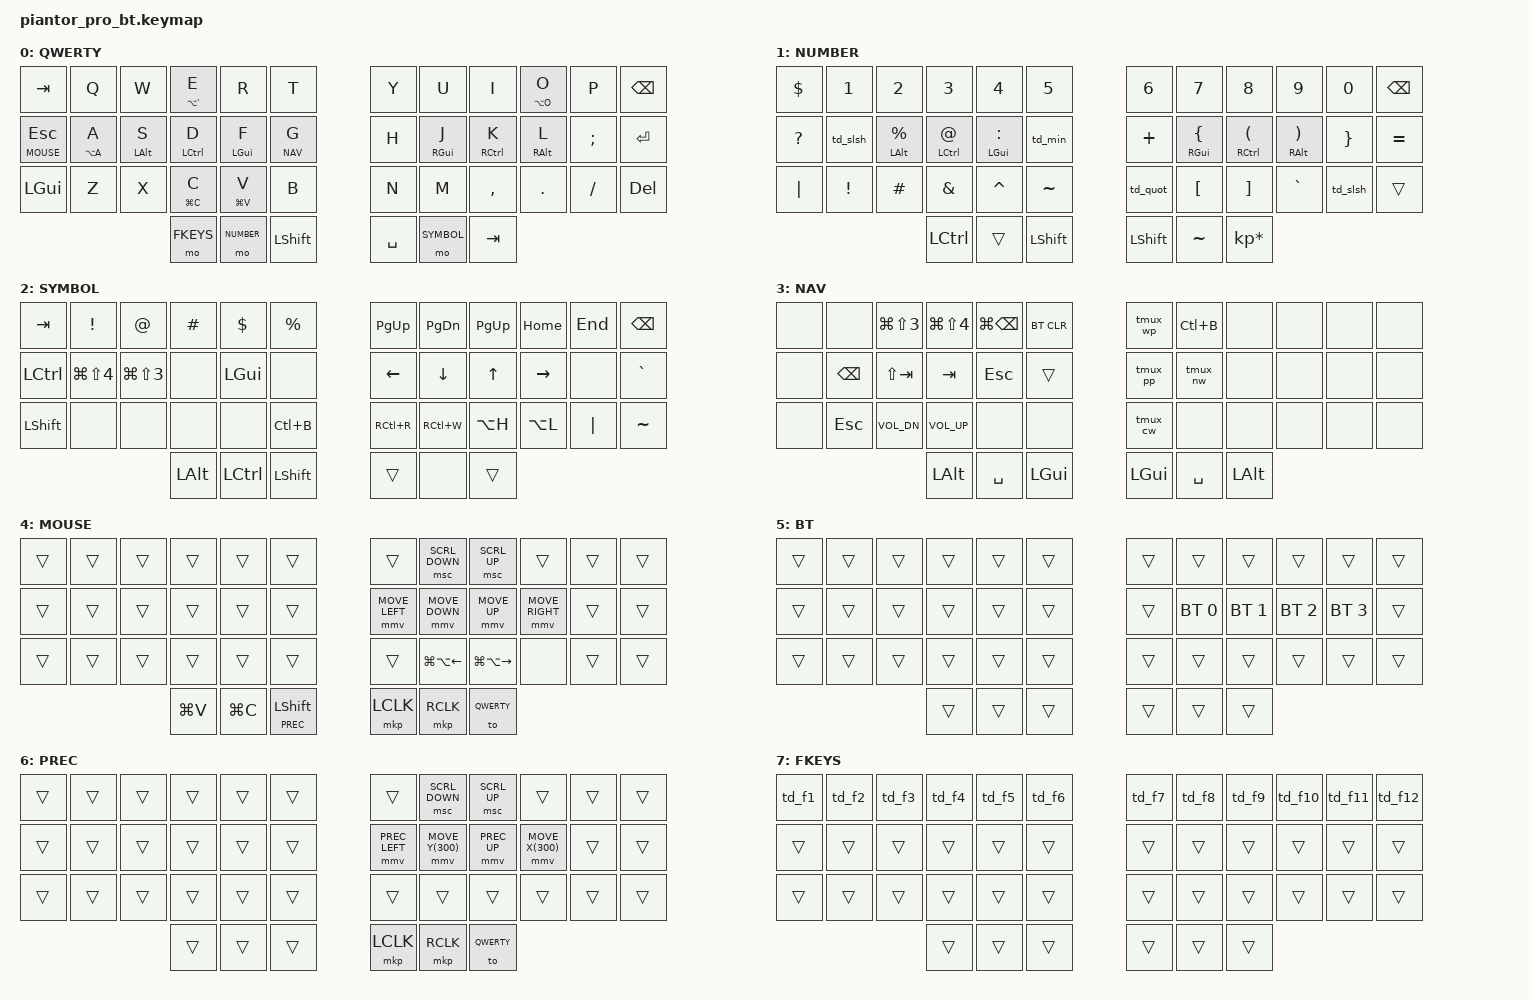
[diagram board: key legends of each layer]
/*
 * Copyright (c) 2020 The ZMK Contributors
 *
 * SPDX-License-Identifier: MIT
 *
 * Converted from Vial Corne v4 layout.
 * Dropped: encoder keys and 7th-column keys (Piantor has no extra column).
 * Layer numbering remapped: Vial 0→0, 1→1, 2→2, 3→3, 5→4 (numpad), 15→5 (mouse).
 */

#include <behaviors.dtsi>
#include <dt-bindings/zmk/keys.h>
#include <dt-bindings/zmk/bt.h>
// ZMK_POINTING_DEFAULT_MOVE_VAL is a preprocessor define in pointing.h,
// not a Kconfig symbol. Define it here before the include so the #ifndef
// guard in pointing.h picks it up. This sets MOVE_UP/DOWN/LEFT/RIGHT speed.
#define ZMK_POINTING_DEFAULT_MOVE_VAL 1500
#include <dt-bindings/zmk/pointing.h>

#define QWERTY 0
#define NUMBER 1
#define SYMBOL 2
#define NAV    3
#define MOUSE  4
#define BT     5
#define PREC   6
#define FKEYS  7

// Slow mouse movement for PREC precision layer (~20% of normal speed).
// Uses built-in &mmv with explicit low-value MOVE_X/MOVE_Y rather than a
// custom zmk,behavior-mouse-move node (not supported in ZMK v0.3 user configs).
#define PREC_UP    MOVE_Y(-300)
#define PREC_DOWN  MOVE_Y(300)
#define PREC_LEFT  MOVE_X(-300)
#define PREC_RIGHT MOVE_X(300)

/ {
    chosen {
        zmk,physical-layout = &default_layout;
    };
};

/ {
    combos {
        compatible = "zmk,combos";
        // Hold ESC + G together → BT layer (right home row = BT profiles 1-4)
        // Key positions: ESC=12  G=17
        combo_bt_layer {
            timeout-ms = <75>;
            key-positions = <12 17>;
            bindings = <&mo BT>;
            layers = <QWERTY>;
            slow-release;
        };
    };
};

/ {
    behaviors {
        // Home row mod-tap: balanced flavor, 280ms tapping term.
        // Split into left/right variants with hold-trigger-key-positions so a hold
        // only activates when a key on the OPPOSITE hand is pressed — the primary
        // cause of misfires while typing.
        // Key positions (0-41): left=0-5,12-17,24-29,36-38  right=6-11,18-23,30-35,39-41
        hrm_l: home_row_mod_left {
            compatible = "zmk,behavior-hold-tap";
            #binding-cells = <2>;
            flavor = "balanced";
            tapping-term-ms = <280>;
            quick-tap-ms = <175>;
            require-prior-idle-ms = <200>;
            hold-trigger-key-positions = <6 7 8 9 10 11 18 19 20 21 22 23 30 31 32 33 34 35 39 40 41>;
            hold-trigger-on-release;
            bindings = <&kp>, <&kp>;
        };
        hrm_r: home_row_mod_right {
            compatible = "zmk,behavior-hold-tap";
            #binding-cells = <2>;
            flavor = "balanced";
            tapping-term-ms = <280>;
            quick-tap-ms = <175>;
            require-prior-idle-ms = <200>;
            hold-trigger-key-positions = <0 1 2 3 4 5 12 13 14 15 16 17 24 25 26 27 28 29 36 37 38>;
            hold-trigger-on-release;
            bindings = <&kp>, <&kp>;
        };
        // Copy/paste hold-tap: tap-preferred so ONLY a deliberate hold past
        // tapping-term fires the command — key rolls never trigger it.
        hrm_cp: home_row_mod_copypaste {
            compatible = "zmk,behavior-hold-tap";
            #binding-cells = <2>;
            flavor = "tap-preferred";
            tapping-term-ms = <400>;
            quick-tap-ms = <175>;
            require-prior-idle-ms = <200>;
            bindings = <&kp>, <&kp>;
        };

        // td_quot: tap=single quote, double-tap=double quote
        td_quot: tap_dance_quot {
            compatible = "zmk,behavior-tap-dance";
            #binding-cells = <0>;
            tapping-term-ms = <200>;
            bindings = <&kp SQT>, <&kp DQT>;
        };

        // td_min: tap=minus, double-tap=underscore
        td_min: tap_dance_min {
            compatible = "zmk,behavior-tap-dance";
            #binding-cells = <0>;
            tapping-term-ms = <200>;
            bindings = <&kp MINUS>, <&kp UNDER>;
        };

        // td_f1–td_f12: tap=Fn, double-tap=Alt+Fn (e.g. Alt+F2 switches Linux TTY)
        td_f1:  tap_dance_f1  { compatible = "zmk,behavior-tap-dance"; #binding-cells = <0>; tapping-term-ms = <200>; bindings = <&kp F1>,  <&kp LA(F1)>;  };
        td_f2:  tap_dance_f2  { compatible = "zmk,behavior-tap-dance"; #binding-cells = <0>; tapping-term-ms = <200>; bindings = <&kp F2>,  <&kp LA(F2)>;  };
        td_f3:  tap_dance_f3  { compatible = "zmk,behavior-tap-dance"; #binding-cells = <0>; tapping-term-ms = <200>; bindings = <&kp F3>,  <&kp LA(F3)>;  };
        td_f4:  tap_dance_f4  { compatible = "zmk,behavior-tap-dance"; #binding-cells = <0>; tapping-term-ms = <200>; bindings = <&kp F4>,  <&kp LA(F4)>;  };
        td_f5:  tap_dance_f5  { compatible = "zmk,behavior-tap-dance"; #binding-cells = <0>; tapping-term-ms = <200>; bindings = <&kp F5>,  <&kp LA(F5)>;  };
        td_f6:  tap_dance_f6  { compatible = "zmk,behavior-tap-dance"; #binding-cells = <0>; tapping-term-ms = <200>; bindings = <&kp F6>,  <&kp LA(F6)>;  };
        td_f7:  tap_dance_f7  { compatible = "zmk,behavior-tap-dance"; #binding-cells = <0>; tapping-term-ms = <200>; bindings = <&kp F7>,  <&kp LA(F7)>;  };
        td_f8:  tap_dance_f8  { compatible = "zmk,behavior-tap-dance"; #binding-cells = <0>; tapping-term-ms = <200>; bindings = <&kp F8>,  <&kp LA(F8)>;  };
        td_f9:  tap_dance_f9  { compatible = "zmk,behavior-tap-dance"; #binding-cells = <0>; tapping-term-ms = <200>; bindings = <&kp F9>,  <&kp LA(F9)>;  };
        td_f10: tap_dance_f10 { compatible = "zmk,behavior-tap-dance"; #binding-cells = <0>; tapping-term-ms = <200>; bindings = <&kp F10>, <&kp LA(F10)>; };
        td_f11: tap_dance_f11 { compatible = "zmk,behavior-tap-dance"; #binding-cells = <0>; tapping-term-ms = <200>; bindings = <&kp F11>, <&kp LA(F11)>; };
        td_f12: tap_dance_f12 { compatible = "zmk,behavior-tap-dance"; #binding-cells = <0>; tapping-term-ms = <200>; bindings = <&kp F12>, <&kp LA(F12)>; };

        // td_slsh: tap=forward slash, double-tap=backslash
        td_slsh: tap_dance_slsh {
            compatible = "zmk,behavior-tap-dance";
            #binding-cells = <0>;
            tapping-term-ms = <200>;
            bindings = <&kp FSLH>, <&kp BSLH>;
        };

        // Danish characters via hold (macOS Option+key combos).
        // hrm is reused: hold=Option+X sends å/æ/ø, tap=normal letter.
    };

    macros {
        // Tmux: Ctrl+B, [ (scroll/copy mode)
        tmux_wp: tmux_wp {
            compatible = "zmk,behavior-macro";
            #binding-cells = <0>;
            bindings
                = <&macro_press &kp LCTRL>
                , <&macro_tap &kp B>
                , <&macro_release &kp LCTRL>
                , <&macro_tap &kp LBKT>;
        };
        // Tmux: Ctrl+B, P (previous pane)
        tmux_pp: tmux_pp {
            compatible = "zmk,behavior-macro";
            #binding-cells = <0>;
            bindings
                = <&macro_press &kp LCTRL>
                , <&macro_tap &kp B>
                , <&macro_release &kp LCTRL>
                , <&macro_tap &kp P>;
        };
        // Tmux: Ctrl+B, N (next window)
        tmux_nw: tmux_nw {
            compatible = "zmk,behavior-macro";
            #binding-cells = <0>;
            bindings
                = <&macro_press &kp LCTRL>
                , <&macro_tap &kp B>
                , <&macro_release &kp LCTRL>
                , <&macro_tap &kp N>;
        };
        // Tmux: Ctrl+B, C (new window)
        tmux_cw: tmux_cw {
            compatible = "zmk,behavior-macro";
            #binding-cells = <0>;
            bindings
                = <&macro_press &kp LCTRL>
                , <&macro_tap &kp B>
                , <&macro_release &kp LCTRL>
                , <&macro_tap &kp C>;
        };
        // Tmux: Ctrl+B, % (vertical split)
        tmux_sp: tmux_sp {
            compatible = "zmk,behavior-macro";
            #binding-cells = <0>;
            bindings
                = <&macro_press &kp LCTRL>
                , <&macro_tap &kp B>
                , <&macro_release &kp LCTRL>
                , <&macro_tap &kp LS(N7)>;
        };
    };

    keymap {
        compatible = "zmk,keymap";

        default_layer {
            display-name = "QWERTY";
            // ┌──────────────┬───┬───┬──────┬───┬────────┐   ┌───┬───┬───┬──────┬───┬──────┐
            // │     TAB      │ Q │ W │E(æ) │ R │   T    │   │ Y │ U │ I │O(ø) │ P │ BSPC │
            // ├──────────────┼───┼───┼──────┼───┼────────┤   ├───┼───┼───┼──────┼───┼──────┤
            // │ESC/MOUSE(hld)│A(å│S/A│D/C  │F/G│ G/NAV  │   │ H │J/G│K/C│L/A  │ ; │  RET │
            // ├──────────────┼───┼───┼───┼───┼────────┤   ├───┼───┼───┼───┼───┼──────┤
            // │     LGUI     │ Z │ X │ C │ V │   B    │   │ N │ M │ , │ . │ / │ DEL  │
            // └──────────────┴───┴───┴───┴───┴────────┘   └───┴───┴───┴───┴───┴──────┘
            //                       ╭───────┬─────┬──────╮ ╭───────┬─────┬─────╮
            //                       │ FKEYS │ NUM │LSHFT │ │ SPACE │ SYM │ TAB │
            //                       ╰───────┴─────┴──────╯ ╰───────┴─────┴─────╯
            // Hold (opposite-hand key required): A=å  E=æ  O=ø  S=LALT  D=LCTRL  F=LGUI  J=RGUI  K=RCTRL  L=RALT
            bindings = <
                &kp TAB       &kp Q        &kp W        &hrm_l LA(SQT) E &kp R    &kp T         &kp Y        &kp U        &kp I        &hrm_r LA(O) O &kp P      &kp BSPC
                &lt MOUSE ESC &hrm_l LA(A) A &hrm_l LALT S &hrm_l LCTRL D &hrm_l LGUI F &lt NAV G &kp H     &hrm_r RGUI J &hrm_r RCTRL K &hrm_r RALT L &kp SEMI  &kp RET
                &kp LGUI      &kp Z        &kp X        &hrm_cp LG(C) C &hrm_cp LG(V) V &kp B      &kp N        &kp M        &kp COMMA    &kp DOT      &kp FSLH     &kp DEL
                                                         &mo FKEYS    &mo NUMBER   &kp LSHFT     &kp SPACE    &mo SYMBOL   &kp TAB
            >;
        };

        lower_layer {
            display-name = "NUMBER";
            // ┌───┬───┬───┬───┬───┬───┐   ┌───┬───┬───┬───┬───┬──────┐
            // │ $ │ 1 │ 2 │ 3 │ 4 │ 5 │   │ 6 │ 7 │ 8 │ 9 │ 0 │ BSPC │
            // ├───┼───┼───┼───┼───┼───┤   ├───┼───┼───┼───┼───┼──────┤
            // │ ? │/\ │%/A│@/C│:/G│-/_│   │ + │{/G│(/C│)/A│ } │  =   │
            // ├───┼───┼───┼───┼───┼───┤   ├───┼───┼───┼───┼───┼──────┤
            // │ | │ ! │ # │ & │ ^ │ ~ │   │'/"│ [ │ ] │ ` │/\ │      │
            // └───┴───┴───┴───┴───┴───┘   └───┴───┴───┴───┴───┴──────┘
            //           ╭──────┬─────┬──────╮ ╭───────┬───────┬───────╮
            //           │ LCTL │     │LSHFT │ │ LSHFT │   ~   │   *   │
            //           ╰──────┴─────┴──────╯ ╰───────┴───────┴───────╯
            // Home row mods (hold, opposite-hand required): S=⌥  D=⌃  F=⌘  J=⌘  K=⌃  L=⌥
            // -/_ key: tap=minus, double-tap=underscore
            // '/" key: tap=single quote, double-tap=double quote
            // Right-most right thumb (pos 41) = * via the keypad asterisk scancode
            // (HID 0x55). Keypad scancodes are not translated by the host layout, so
            // this reliably types * on both macOS and Linux/Danish — unlike &kp STAR,
            // which is Shift+8 ( * on Linux Danish but ( on macOS Danish ).
            bindings = <
                &kp DLLR     &kp N1       &kp N2            &kp N3           &kp N4           &kp N5        &kp N6       &kp N7            &kp N8            &kp N9           &kp N0       &kp BSPC
                &kp QMARK    &td_slsh     &hrm_l LALT PRCNT &hrm_l LCTRL AT  &hrm_l LGUI COLON &td_min      &kp PLUS     &hrm_r RGUI LBRC  &hrm_r RCTRL LPAR &hrm_r RALT RPAR &kp RBRC     &kp EQUAL
                &kp PIPE     &kp EXCL     &kp HASH          &kp AMPS         &kp CARET        &kp TILDE     &td_quot     &kp LBKT          &kp RBKT          &kp GRAVE        &td_slsh     &trans
                                                             &kp LCTRL        &trans           &kp LSHFT     &kp LSHFT    &kp TILDE         &kp KP_ASTERISK
            >;
        };

        raise_layer {
            display-name = "SYMBOL";
            // ┌─────┬─────┬─────┬─────┬─────┬─────┐   ┌───────┬───────┬───────┬──────┬─────┬──────┐
            // │ TAB │  !  │  @  │  #  │  $  │  %  │   │ PG_UP │ PG_DN │ PG_UP │ HOME │ END │ BSPC │
            // ├─────┼─────┼─────┼─────┼─────┼─────┤   ├───────┼───────┼───────┼──────┼─────┼──────┤
            // │LCTL │SCR4 │SCR3 │     │LGUI │     │   │  LEFT │  DOWN │   UP  │RIGHT │     │  `   │
            // ├─────┼─────┼─────┼─────┼─────┼─────┤   ├───────┼───────┼───────┼──────┼─────┼──────┤
            // │LSFT │     │     │     │     │Ctrl+B│   │ C-r  │  C-w  │ A-h   │ A-l  │  |  │  ~   │
            // └─────┴─────┴─────┴─────┴─────┴─────┘   └───────┴───────┴───────┴──────┴─────┴──────┘
            //               ╭──────┬──────┬──────╮ ╭───────┬──────┬───────╮
            //               │ LALT │ LCTL │LSHFT │ │       │      │       │
            //               ╰──────┴──────┴──────╯ ╰───────┴──────┴───────╯
            bindings = <
                &kp TAB      &kp EXCL        &kp AT          &kp HASH     &kp DLLR     &kp PRCNT     &kp PG_UP    &kp PG_DN    &kp PG_UP    &kp HOME     &kp END      &kp BSPC
                &kp LCTRL    &kp LG(LS(N4))  &kp LG(LS(N3))  &none        &kp LGUI     &none         &kp LEFT     &kp DOWN     &kp UP       &kp RIGHT    &none        &kp GRAVE
                &kp LSHFT    &none           &none           &none        &none        &kp LC(B)     &kp RC(R)    &kp RC(W)    &kp LA(H)    &kp LA(L)    &kp PIPE     &kp TILDE
                                                              &kp LALT     &kp LCTRL    &kp LSHFT     &trans       &none        &trans
            >;
        };

        nav_layer {
            display-name = "NAV";
            // Accessed by holding G on base layer.
            // Left: media + macOS shortcuts   Right: tmux commands (vim-position)
            // ┌─────┬─────┬──────┬──────┬───────┬──────┐   ┌────────┬──────┬──────┬──────┬──────┬─────┐
            // │     │     │SCR3  │SCR4  │DEL_WRD│ PAIR │   │ tmux[  │ C-b  │      │      │      │     │
            // ├─────┼─────┼──────┼──────┼───────┼──────┤   ├────────┼──────┼──────┼──────┼──────┼─────┤
            // │     │BSPC │STAB  │ TAB  │  ESC  │      │   │ tmuxP  │tmuxN │      │      │      │     │
            // ├─────┼─────┼──────┼──────┼───────┼──────┤   ├────────┼──────┼──────┼──────┼──────┼─────┤
            // │     │ ESC │VOL-  │VOL+  │       │      │   │ tmuxC  │      │      │      │      │     │
            // └─────┴─────┴──────┴──────┴───────┴──────┘   └────────┴──────┴──────┴──────┴──────┴─────┘
            //               ╭──────┬───────┬──────╮ ╭──────┬───────┬──────╮
            //               │ LALT │ SPACE │ LGUI │ │ LGUI │ SPACE │ LALT │
            //               ╰──────┴───────┴──────╯ ╰──────┴───────┴──────╯
            // PAIR: clears current BT profile bond → keyboard enters pairing mode
            bindings = <
                &none        &none        &kp LG(LS(N3)) &kp LG(LS(N4)) &kp LG(BSPC) &bt BT_CLR    &tmux_wp     &kp LC(B)    &none        &none        &none        &none
                &none        &kp BSPC     &kp LS(TAB)    &kp TAB        &kp ESC      &trans        &tmux_pp     &tmux_nw     &none        &none        &none        &none
                &none        &kp ESC      &kp C_VOL_DN   &kp C_VOL_UP   &none        &none         &tmux_cw     &none        &none        &none        &none        &none
                                                          &kp LALT       &kp SPACE    &kp LGUI      &kp LGUI     &kp SPACE    &kp LALT
            >;
        };


        mouse_layer {
            display-name = "MOUSE";
            // Accessed by holding ESC on base layer.
            // Right: vim-style mouse movement (H/J/K/L), scroll on I/O row, buttons on thumbs.
            // Left thumbs: paste / copy (macOS Cmd+V / Cmd+C).
            // ┌─────┬─────┬─────┬─────┬─────┬─────┐   ┌─────┬──────┬──────┬──────┬─────┬─────┐
            // │     │     │     │     │     │     │   │     │SCRL↓ │SCRL↑ │      │     │     │
            // ├─────┼─────┼─────┼─────┼─────┼─────┤   ├─────┼──────┼──────┼──────┼─────┼─────┤
            // │     │     │     │     │     │     │   │ ←   │  ↓   │  ↑   │  →   │     │     │
            // ├─────┼─────┼─────┼─────┼─────┼─────┤   ├─────┼──────┼──────┼──────┼─────┼─────┤
            // │     │     │     │     │     │     │   │     │SPC←  │SPC→  │      │     │     │
            // └─────┴─────┴─────┴─────┴─────┴─────┘   └─────┴──────┴──────┴──────┴─────┴─────┘
            //               ╭───────┬──────┬──────╮ ╭──────┬──────┬──────╮
            //               │ CMD+V │CMD+C │PREC  │ │ BTN1 │ BTN2 │ BASE │
            //               ╰───────┴──────┴──────╯ ╰──────┴──────┴──────╯
            // PREC thumb: tap=LSHFT (shift-click), hold=precision mouse layer
            bindings = <
                &trans       &trans       &trans       &trans       &trans       &trans        &trans            &msc SCRL_DOWN    &msc SCRL_UP      &trans            &trans       &trans
                &trans       &trans       &trans       &trans       &trans       &trans        &mmv MOVE_LEFT    &mmv MOVE_DOWN    &mmv MOVE_UP      &mmv MOVE_RIGHT   &trans       &trans
                &trans       &trans       &trans       &trans       &trans       &trans        &trans            &kp LG(LA(LEFT))  &kp LG(LA(RIGHT)) &none             &trans       &trans
                                                        &kp LG(V)    &kp LG(C)    &lt PREC LSHFT  &mkp LCLK     &mkp RCLK         &to QWERTY
            >;
        };

        bt_layer {
            display-name = "BT";
            // Accessed by holding ESC + G simultaneously (combo).
            // Right home row selects Bluetooth profile to connect/switch to.
            // Select an empty slot → keyboard enters pairing mode automatically.
            // ┌─────┬─────┬─────┬─────┬─────┬─────┐   ┌─────┬─────┬─────┬─────┬─────┬─────┐
            // │     │     │     │     │     │     │   │     │     │     │     │     │     │
            // ├─────┼─────┼─────┼─────┼─────┼─────┤   ├─────┼─────┼─────┼─────┼─────┼─────┤
            // │     │     │     │     │     │     │   │     │ BT1 │ BT2 │ BT3 │ BT4 │     │
            // ├─────┼─────┼─────┼─────┼─────┼─────┤   ├─────┼─────┼─────┼─────┼─────┼─────┤
            // │     │     │     │     │     │     │   │     │     │     │     │     │     │
            // └─────┴─────┴─────┴─────┴─────┴─────┘   └─────┴─────┴─────┴─────┴─────┴─────┘
            //               ╭───────┬───────┬───────╮ ╭───────┬───────┬───────╮
            //               │       │       │       │ │       │       │       │
            //               ╰───────┴───────┴───────╯ ╰───────┴───────┴───────╯
            bindings = <
                &trans &trans &trans &trans &trans &trans  &trans       &trans       &trans       &trans       &trans &trans
                &trans &trans &trans &trans &trans &trans  &trans       &bt BT_SEL 0 &bt BT_SEL 1 &bt BT_SEL 2 &bt BT_SEL 3 &trans
                &trans &trans &trans &trans &trans &trans  &trans       &trans       &trans       &trans       &trans &trans
                                     &trans &trans &trans  &trans       &trans       &trans
            >;
        };

        prec_layer {
            display-name = "PREC";
            // Precision mouse mode: hold PREC thumb in mouse layer.
            // H/J/K/L use &mmv with PREC_* values (300 vs 1500 default = ~20% speed).
            // ┌─────┬─────┬─────┬─────┬─────┬─────┐   ┌──────┬──────┬──────┬──────┬─────┬─────┐
            // │     │     │     │     │     │     │   │      │SCRL↓ │SCRL↑ │      │     │     │
            // ├─────┼─────┼─────┼─────┼─────┼─────┤   ├──────┼──────┼──────┼──────┼─────┼─────┤
            // │     │     │     │     │     │     │   │  ←   │  ↓   │  ↑   │  →   │     │     │
            // ├─────┼─────┼─────┼─────┼─────┼─────┤   ├──────┼──────┼──────┼──────┼─────┼─────┤
            // │     │     │     │     │     │     │   │      │      │      │      │     │     │
            // └─────┴─────┴─────┴─────┴─────┴─────┘   └──────┴──────┴──────┴──────┴─────┴─────┘
            //               ╭───────┬───────┬───────╮ ╭───────┬───────┬───────╮
            //               │       │       │  ***  │ │ BTN1  │ BTN2  │ BASE  │
            //               ╰───────┴───────┴───────╯ ╰───────┴───────┴───────╯
            bindings = <
                &trans &trans &trans &trans &trans &trans  &trans                  &msc SCRL_DOWN          &msc SCRL_UP            &trans                  &trans &trans
                &trans &trans &trans &trans &trans &trans  &mmv PREC_LEFT          &mmv PREC_DOWN          &mmv PREC_UP            &mmv PREC_RIGHT         &trans &trans
                &trans &trans &trans &trans &trans &trans  &trans                  &trans                  &trans                  &trans                  &trans &trans
                                     &trans &trans &trans  &mkp LCLK               &mkp RCLK               &to QWERTY
            >;
        };

        fkeys_layer {
            display-name = "FKEYS";
            // ┌───────┬───────┬───────┬───────┬───────┬───────┐   ┌───────┬───────┬───────┬────────┬────────┬────────┐
            // │  F1   │  F2   │  F3   │  F4   │  F5   │  F6   │   │  F7   │  F8   │  F9   │  F10   │  F11   │  F12   │
            // │2×:⌥F1 │2×:⌥F2 │2×:⌥F3 │2×:⌥F4 │2×:⌥F5 │2×:⌥F6 │   │2×:⌥F7 │2×:⌥F8 │2×:⌥F9 │2×:⌥F10 │2×:⌥F11 │2×:⌥F12 │
            // ├───────┼───────┼───────┼───────┼───────┼───────┤   ├───────┼───────┼───────┼────────┼────────┼────────┤
            // │   ▼   │   ▼   │   ▼   │   ▼   │   ▼   │   ▼   │   │   ▼   │   ▼   │   ▼   │   ▼    │   ▼    │   ▼    │
            // ├───────┼───────┼───────┼───────┼───────┼───────┤   ├───────┼───────┼───────┼────────┼────────┼────────┤
            // │   ▼   │   ▼   │   ▼   │   ▼   │   ▼   │   ▼   │   │   ▼   │   ▼   │   ▼   │   ▼    │   ▼    │   ▼    │
            // └───────┴───────┴───────┴───────┴───────┴───────┘   └───────┴───────┴───────┴────────┴────────┴────────┘
            //               ╭──────────┬──────────┬──────────╮ ╭──────────┬──────────┬──────────╮
            //               │  *held*  │    ▼     │    ▼     │ │    ▼     │    ▼     │    ▼     │
            //               ╰──────────┴──────────┴──────────╯ ╰──────────┴──────────┴──────────╯
            // Home row transparent → QWERTY home row mods available for Ctrl/Shift/Cmd combos.
            bindings = <
                &td_f1  &td_f2  &td_f3  &td_f4  &td_f5  &td_f6    &td_f7  &td_f8  &td_f9  &td_f10 &td_f11 &td_f12
                &trans  &trans  &trans  &trans  &trans  &trans    &trans  &trans  &trans  &trans  &trans  &trans
                &trans  &trans  &trans  &trans  &trans  &trans    &trans  &trans  &trans  &trans  &trans  &trans
                                        &trans  &trans  &trans    &trans  &trans  &trans
            >;
        };
    };
};
